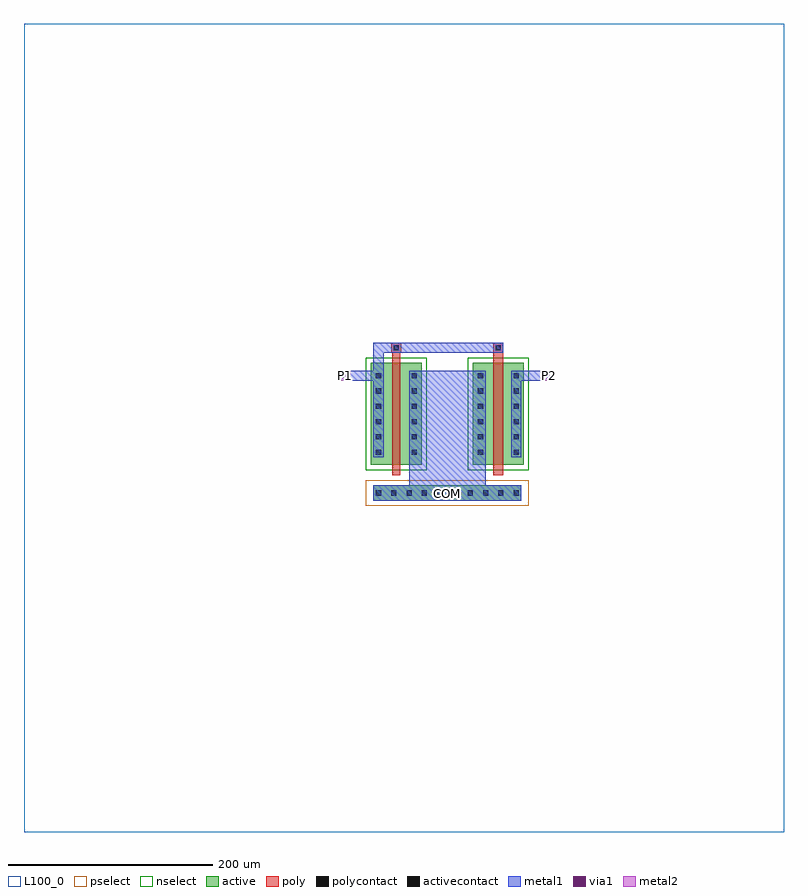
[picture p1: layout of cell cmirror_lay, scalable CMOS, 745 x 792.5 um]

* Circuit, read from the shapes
.subckt cmirror_lay COM P1 P2
M1 COM P1 P1 COM nfet w=100u l=8u
M2 P2 P1 COM COM nfet w=100u l=10u
.ends

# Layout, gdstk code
import gdstk
lib = gdstk.Library(unit=1e-6, precision=1e-09)
def R(c, l, rs):  # rectangles x0, y0, x1, y1
    for r in rs: c.add(gdstk.rectangle(r[:2], r[2:], *l))
def A(c, l, x, y, w, h, nx, ny, dx, dy):  # array of equal rectangles
    R(c, l, [(x+i*dx, y+j*dy, x+i*dx+w, y+j*dy+h) for i in range(nx) for j in range(ny)])
active = (43, 0)
pselect = (44, 0)
nselect = (45, 0)
poly = (46, 0)
polycontact = (47, 0)
activecontact = (48, 0)
metal1 = (49, 0)
via1 = (50, 0)
metal2 = (51, 0)
L100_0 = (100, 0)

cmirror_lay = lib.new_cell('cmirror_lay')
R(cmirror_lay, active, [(-22.5,-85,122.5,-70), (-22.5,-85,122.5,-70), (-25,-50,25,50), (75,-50,125,50)])
R(cmirror_lay, pselect, [(-30,-90,130,-65)])
R(cmirror_lay, nselect, [(-30,-55,30,55), (70,-55,130,55)])
R(cmirror_lay, poly, [(-4,-60,4,60), (95,-60,105,60), (-5,60,5,70), (95,60,105,70)])
R(cmirror_lay, polycontact, [(-2.5,62.5,2.5,67.5), (97.5,62.5,102.5,67.5)])
A(cmirror_lay, activecontact, -20, -80, 5, 5, 10, 1, 15, 0)
A(cmirror_lay, activecontact, -20, -40, 5, 5, 1, 6, 0, 15)
A(cmirror_lay, activecontact, 15, -40, 5, 5, 1, 6, 0, 15)
A(cmirror_lay, activecontact, 80, -40, 5, 5, 1, 6, 0, 15)
A(cmirror_lay, activecontact, 115, -40, 5, 5, 1, 6, 0, 15)
R(cmirror_lay, activecontact, [(115,35,120,40)])
R(cmirror_lay, metal1, [(-22.5,-85,122.5,-70), (12.5,-85,87.5,42.5), (-22.5,-42.5,-12.5,42.5), (12.5,-42.5,22.5,42.5), (12.5,-42.5,87.5,42.5), (77.5,-42.5,87.5,42.5), (112.5,-42.5,122.5,42.5), (-55,32.5,-12.5,42.5), (-22.5,32.5,-12.5,70), (112.5,32.5,155,42.5), (-22.5,60,5,70), (-5,60,105,70)])
R(cmirror_lay, via1, [(-52.5,35,-47.5,40), (147.5,35,152.5,40)])
R(cmirror_lay, metal2, [(-55,32.5,-45,42.5), (145,32.5,155,42.5)])
R(cmirror_lay, L100_0, [(-365,-410,380,382.5)])
cmirror_lay.add(gdstk.Label('P1', (-50,37.5), layer=51, texttype=1))
cmirror_lay.add(gdstk.Label('P2', (150,37.5), layer=51, texttype=1))
cmirror_lay.add(gdstk.Label('COM', (50,-77.5), layer=49, texttype=1))

lib.write_gds('cmirror_lay.gds')
